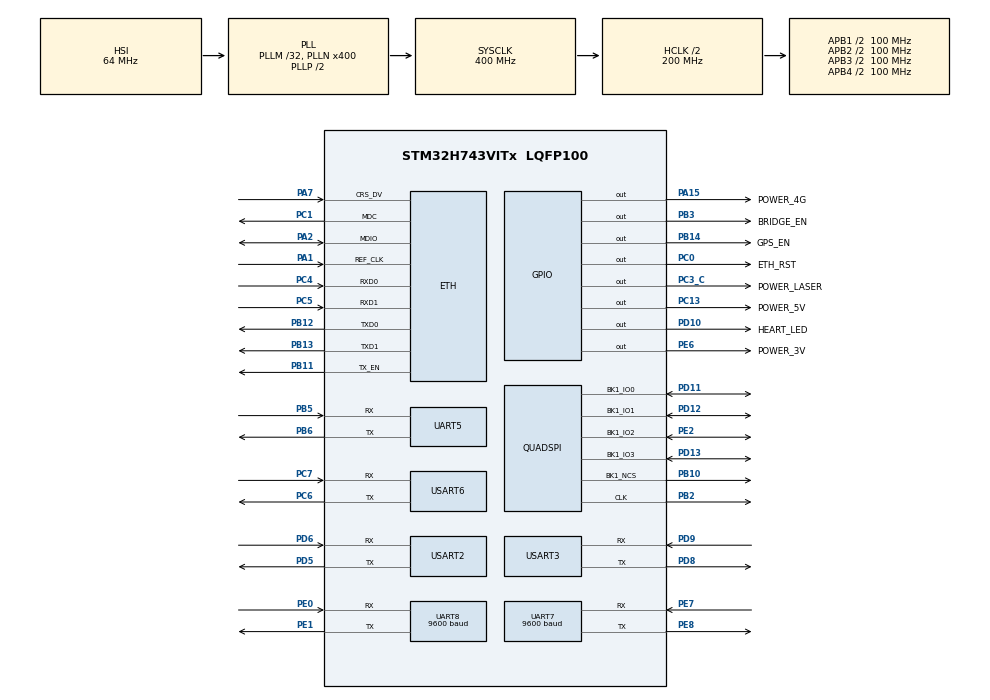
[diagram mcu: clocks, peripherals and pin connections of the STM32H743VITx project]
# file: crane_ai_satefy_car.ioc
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CORTEX_M7.AccessPermission_S-Cortex_Memory_Protection_Unit_Region1_Settings_S=MPU_REGION_FULL_ACCESS
CORTEX_M7.AccessPermission_S-Cortex_Memory_Protection_Unit_Region2_Settings_S=MPU_REGION_FULL_ACCESS
CORTEX_M7.AccessPermission_S-Cortex_Memory_Protection_Unit_Region3_Settings_S=MPU_REGION_FULL_ACCESS
CORTEX_M7.BaseAddress_S-Cortex_Memory_Protection_Unit_Region1_Settings_S=0x30020000
CORTEX_M7.BaseAddress_S-Cortex_Memory_Protection_Unit_Region2_Settings_S=0x30040000
CORTEX_M7.BaseAddress_S-Cortex_Memory_Protection_Unit_Region3_Settings_S=0x24000000
CORTEX_M7.CPU_DCache=Enabled
CORTEX_M7.CPU_ICache=Enabled
CORTEX_M7.DisableExec_S-Cortex_Memory_Protection_Unit_Region1_Settings_S=MPU_INSTRUCTION_ACCESS_DISABLE
CORTEX_M7.DisableExec_S-Cortex_Memory_Protection_Unit_Region2_Settings_S=MPU_INSTRUCTION_ACCESS_DISABLE
CORTEX_M7.DisableExec_S-Cortex_Memory_Protection_Unit_Region3_Settings_S=MPU_INSTRUCTION_ACCESS_ENABLE
CORTEX_M7.Enable_S-Cortex_Memory_Protection_Unit_Region1_Settings_S=MPU_REGION_ENABLE
CORTEX_M7.Enable_S-Cortex_Memory_Protection_Unit_Region2_Settings_S=MPU_REGION_ENABLE
CORTEX_M7.Enable_S-Cortex_Memory_Protection_Unit_Region3_Settings_S=MPU_REGION_ENABLE
CORTEX_M7.IsBufferable_S-Cortex_Memory_Protection_Unit_Region1_Settings_S=MPU_ACCESS_NOT_BUFFERABLE
CORTEX_M7.IsBufferable_S-Cortex_Memory_Protection_Unit_Region2_Settings_S=MPU_ACCESS_BUFFERABLE
CORTEX_M7.IsCacheable_S-Cortex_Memory_Protection_Unit_Region3_Settings_S=MPU_ACCESS_CACHEABLE
CORTEX_M7.IsShareable_S-Cortex_Memory_Protection_Unit_Region1_Settings_S=MPU_ACCESS_NOT_SHAREABLE
CORTEX_M7.IsShareable_S-Cortex_Memory_Protection_Unit_Region2_Settings_S=MPU_ACCESS_SHAREABLE
CORTEX_M7.IsShareable_S-Cortex_Memory_Protection_Unit_Region3_Settings_S=MPU_ACCESS_SHAREABLE
CORTEX_M7.Size_S-Cortex_Memory_Protection_Unit_Region1_Settings_S=MPU_REGION_SIZE_128KB
CORTEX_M7.Size_S-Cortex_Memory_Protection_Unit_Region2_Settings_S=MPU_REGION_SIZE_512B
CORTEX_M7.Size_S-Cortex_Memory_Protection_Unit_Region3_Settings_S=MPU_REGION_SIZE_512KB
CORTEX_M7.TypeExtField_S-Cortex_Memory_Protection_Unit_Region1_Settings_S=MPU_TEX_LEVEL1
CORTEX_M7.TypeExtField_S-Cortex_Memory_Protection_Unit_Region2_Settings_S=MPU_TEX_LEVEL0
CORTEX_M7.TypeExtField_S-Cortex_Memory_Protection_Unit_Region3_Settings_S=MPU_TEX_LEVEL0
CORTEX_M7.default_mode_Activation=1
Dma.Request0=UART5_RX
Dma.Request1=UART5_TX
Dma.Request2=USART3_RX
Dma.Request3=USART3_TX
Dma.Request4=USART2_RX
Dma.Request5=USART2_TX
Dma.Request6=USART6_RX
Dma.Request7=USART6_TX
Dma.UART5_RX.0.Direction=DMA_PERIPH_TO_MEMORY
Dma.UART5_RX.0.EventEnable=DISABLE
Dma.UART5_RX.0.FIFOMode=DMA_FIFOMODE_DISABLE
Dma.UART5_RX.0.Instance=DMA1_Stream0
Dma.UART5_RX.0.MemDataAlignment=DMA_MDATAALIGN_BYTE
Dma.UART5_RX.0.MemInc=DMA_MINC_ENABLE
Dma.UART5_RX.0.Mode=DMA_NORMAL
Dma.UART5_RX.0.PeriphDataAlignment=DMA_PDATAALIGN_BYTE
Dma.UART5_RX.0.PeriphInc=DMA_PINC_DISABLE
Dma.UART5_RX.0.Polarity=HAL_DMAMUX_REQ_GEN_RISING
Dma.UART5_RX.0.Priority=DMA_PRIORITY_LOW
Dma.UART5_RX.0.RequestNumber=1
Dma.UART5_RX.0.SignalID=NONE
Dma.UART5_RX.0.SyncEnable=DISABLE
Dma.UART5_RX.0.SyncPolarity=HAL_DMAMUX_SYNC_NO_EVENT
Dma.UART5_RX.0.SyncRequestNumber=1
Dma.UART5_RX.0.SyncSignalID=NONE
Dma.UART5_TX.1.Direction=DMA_MEMORY_TO_PERIPH
Dma.UART5_TX.1.EventEnable=DISABLE
Dma.UART5_TX.1.FIFOMode=DMA_FIFOMODE_DISABLE
Dma.UART5_TX.1.Instance=DMA1_Stream1
Dma.UART5_TX.1.MemDataAlignment=DMA_MDATAALIGN_BYTE
Dma.UART5_TX.1.MemInc=DMA_MINC_ENABLE
Dma.UART5_TX.1.Mode=DMA_NORMAL
Dma.UART5_TX.1.PeriphDataAlignment=DMA_PDATAALIGN_BYTE
Dma.UART5_TX.1.PeriphInc=DMA_PINC_DISABLE
Dma.UART5_TX.1.Polarity=HAL_DMAMUX_REQ_GEN_RISING
Dma.UART5_TX.1.Priority=DMA_PRIORITY_LOW
Dma.UART5_TX.1.RequestNumber=1
Dma.UART5_TX.1.SignalID=NONE
Dma.UART5_TX.1.SyncEnable=DISABLE
Dma.UART5_TX.1.SyncPolarity=HAL_DMAMUX_SYNC_NO_EVENT
Dma.UART5_TX.1.SyncRequestNumber=1
Dma.UART5_TX.1.SyncSignalID=NONE
Dma.USART2_RX.4.Direction=DMA_PERIPH_TO_MEMORY
Dma.USART2_RX.4.EventEnable=DISABLE
Dma.USART2_RX.4.FIFOMode=DMA_FIFOMODE_DISABLE
Dma.USART2_RX.4.Instance=DMA1_Stream4
Dma.USART2_RX.4.MemDataAlignment=DMA_MDATAALIGN_BYTE
Dma.USART2_RX.4.MemInc=DMA_MINC_ENABLE
Dma.USART2_RX.4.Mode=DMA_NORMAL
Dma.USART2_RX.4.PeriphDataAlignment=DMA_PDATAALIGN_BYTE
Dma.USART2_RX.4.PeriphInc=DMA_PINC_DISABLE
Dma.USART2_RX.4.Polarity=HAL_DMAMUX_REQ_GEN_RISING
Dma.USART2_RX.4.Priority=DMA_PRIORITY_LOW
Dma.USART2_RX.4.RequestNumber=1
Dma.USART2_RX.4.SignalID=NONE
Dma.USART2_RX.4.SyncEnable=DISABLE
Dma.USART2_RX.4.SyncPolarity=HAL_DMAMUX_SYNC_NO_EVENT
Dma.USART2_RX.4.SyncRequestNumber=1
Dma.USART2_RX.4.SyncSignalID=NONE
Dma.USART2_TX.5.Direction=DMA_MEMORY_TO_PERIPH
Dma.USART2_TX.5.EventEnable=DISABLE
Dma.USART2_TX.5.FIFOMode=DMA_FIFOMODE_DISABLE
Dma.USART2_TX.5.Instance=DMA1_Stream5
Dma.USART2_TX.5.MemDataAlignment=DMA_MDATAALIGN_BYTE
Dma.USART2_TX.5.MemInc=DMA_MINC_ENABLE
Dma.USART2_TX.5.Mode=DMA_NORMAL
Dma.USART2_TX.5.PeriphDataAlignment=DMA_PDATAALIGN_BYTE
Dma.USART2_TX.5.PeriphInc=DMA_PINC_DISABLE
Dma.USART2_TX.5.Polarity=HAL_DMAMUX_REQ_GEN_RISING
Dma.USART2_TX.5.Priority=DMA_PRIORITY_LOW
Dma.USART2_TX.5.RequestNumber=1
Dma.USART2_TX.5.SignalID=NONE
Dma.USART2_TX.5.SyncEnable=DISABLE
Dma.USART2_TX.5.SyncPolarity=HAL_DMAMUX_SYNC_NO_EVENT
Dma.USART2_TX.5.SyncRequestNumber=1
Dma.USART2_TX.5.SyncSignalID=NONE
Dma.USART3_RX.2.Direction=DMA_PERIPH_TO_MEMORY
Dma.USART3_RX.2.EventEnable=DISABLE
Dma.USART3_RX.2.FIFOMode=DMA_FIFOMODE_DISABLE
Dma.USART3_RX.2.Instance=DMA1_Stream2
Dma.USART3_RX.2.MemDataAlignment=DMA_MDATAALIGN_BYTE
Dma.USART3_RX.2.MemInc=DMA_MINC_ENABLE
Dma.USART3_RX.2.Mode=DMA_NORMAL
Dma.USART3_RX.2.PeriphDataAlignment=DMA_PDATAALIGN_BYTE
Dma.USART3_RX.2.PeriphInc=DMA_PINC_DISABLE
Dma.USART3_RX.2.Polarity=HAL_DMAMUX_REQ_GEN_RISING
Dma.USART3_RX.2.Priority=DMA_PRIORITY_LOW
Dma.USART3_RX.2.RequestNumber=1
Dma.USART3_RX.2.SignalID=NONE
Dma.USART3_RX.2.SyncEnable=DISABLE
Dma.USART3_RX.2.SyncPolarity=HAL_DMAMUX_SYNC_NO_EVENT
Dma.USART3_RX.2.SyncRequestNumber=1
Dma.USART3_RX.2.SyncSignalID=NONE
Dma.USART3_TX.3.Direction=DMA_MEMORY_TO_PERIPH
Dma.USART3_TX.3.EventEnable=DISABLE
Dma.USART3_TX.3.FIFOMode=DMA_FIFOMODE_DISABLE
Dma.USART3_TX.3.Instance=DMA1_Stream3
Dma.USART3_TX.3.MemDataAlignment=DMA_MDATAALIGN_BYTE
Dma.USART3_TX.3.MemInc=DMA_MINC_ENABLE
Dma.USART3_TX.3.Mode=DMA_NORMAL
Dma.USART3_TX.3.PeriphDataAlignment=DMA_PDATAALIGN_BYTE
Dma.USART3_TX.3.PeriphInc=DMA_PINC_DISABLE
Dma.USART3_TX.3.Polarity=HAL_DMAMUX_REQ_GEN_RISING
Dma.USART3_TX.3.Priority=DMA_PRIORITY_LOW
Dma.USART3_TX.3.RequestNumber=1
Dma.USART3_TX.3.SignalID=NONE
Dma.USART3_TX.3.SyncEnable=DISABLE
Dma.USART3_TX.3.SyncPolarity=HAL_DMAMUX_SYNC_NO_EVENT
Dma.USART3_TX.3.SyncRequestNumber=1
Dma.USART3_TX.3.SyncSignalID=NONE
Dma.USART6_RX.6.Direction=DMA_PERIPH_TO_MEMORY
Dma.USART6_RX.6.EventEnable=DISABLE
Dma.USART6_RX.6.FIFOMode=DMA_FIFOMODE_DISABLE
Dma.USART6_RX.6.Instance=DMA1_Stream6
Dma.USART6_RX.6.MemDataAlignment=DMA_MDATAALIGN_BYTE
Dma.USART6_RX.6.MemInc=DMA_MINC_ENABLE
Dma.USART6_RX.6.Mode=DMA_NORMAL
Dma.USART6_RX.6.PeriphDataAlignment=DMA_PDATAALIGN_BYTE
Dma.USART6_RX.6.PeriphInc=DMA_PINC_DISABLE
Dma.USART6_RX.6.Polarity=HAL_DMAMUX_REQ_GEN_RISING
Dma.USART6_RX.6.Priority=DMA_PRIORITY_LOW
Dma.USART6_RX.6.RequestNumber=1
Dma.USART6_RX.6.SignalID=NONE
Dma.USART6_RX.6.SyncEnable=DISABLE
Dma.USART6_RX.6.SyncPolarity=HAL_DMAMUX_SYNC_NO_EVENT
Dma.USART6_RX.6.SyncRequestNumber=1
Dma.USART6_RX.6.SyncSignalID=NONE
Dma.USART6_TX.7.Direction=DMA_MEMORY_TO_PERIPH
Dma.USART6_TX.7.EventEnable=DISABLE
Dma.USART6_TX.7.FIFOMode=DMA_FIFOMODE_DISABLE
Dma.USART6_TX.7.Instance=DMA1_Stream7
Dma.USART6_TX.7.MemDataAlignment=DMA_MDATAALIGN_BYTE
Dma.USART6_TX.7.MemInc=DMA_MINC_ENABLE
Dma.USART6_TX.7.Mode=DMA_NORMAL
Dma.USART6_TX.7.PeriphDataAlignment=DMA_PDATAALIGN_BYTE
Dma.USART6_TX.7.PeriphInc=DMA_PINC_DISABLE
Dma.USART6_TX.7.Polarity=HAL_DMAMUX_REQ_GEN_RISING
Dma.USART6_TX.7.Priority=DMA_PRIORITY_LOW
Dma.USART6_TX.7.RequestNumber=1
Dma.USART6_TX.7.SignalID=NONE
Dma.USART6_TX.7.SyncEnable=DISABLE
Dma.USART6_TX.7.SyncPolarity=HAL_DMAMUX_SYNC_NO_EVENT
Dma.USART6_TX.7.SyncRequestNumber=1
Dma.USART6_TX.7.SyncSignalID=NONE
ETH.MediaInterface=HAL_ETH_RMII_MODE
FREERTOS.Tasks01=defaultTask,24,1024,StartDefaultTask,Default,NULL,Dynamic,NULL,NULL
FREERTOS.configCHECK_FOR_STACK_OVERFLOW=1
FREERTOS.configTOTAL_HEAP_SIZE=65536
IWDG1.Prescaler=IWDG_PRESCALER_256
LWIP.BSP.number=1
LWIP.DEFAULT_ACCEPTMBOX_SIZE=12
LWIP.DEFAULT_RAW_RECVMBOX_SIZE=6
LWIP.GATEWAY_ADDRESS=192.168.061.001
LWIP.IP_ADDRESS=192.168.061.036
LWIP.LWIP_DHCP=0
LWIP.LWIP_RAM_HEAP_POINTER=0x30020000
LWIP.LWIP_RAW=1
LWIP.LWIP_SO_RCVTIMEO=1
LWIP.LWIP_SO_SNDTIMEO=1
LWIP.LWIP_TCP_KEEPALIVE=1
LWIP.MEMP_NUM_NETCONN=15
LWIP.MEMP_NUM_SOCKET_SETGETSOCKOPT_DATA=10
LWIP.MEMP_NUM_SYS_TIMEOUT=20
LWIP.MEMP_NUM_TCP_PCB=20
LWIP.MEMP_NUM_TCP_PCB_LISTEN=20
LWIP.MEMP_NUM_UDP_PCB=20
LWIP.MEM_SIZE=131048
LWIP.NETMASK_ADDRESS=255.255.255.000
LWIP.SO_REUSE=1
LWIP.Version=v2.1.2_Cube
LWIP0.BSP.STBoard=false
LWIP0.BSP.api=BSP_COMPONENT_DRIVER
LWIP0.BSP.component=LAN8742
LWIP0.BSP.instance=LAN8742
LWIP0.BSP.name=Driver_PHY
LWIP0.BSP.semaphore=S_LAN8742
LWIP0.BSP.solution=LAN8742
Mcu.Family=STM32H7
Mcu.Name=STM32H743VITx
Mcu.Package=LQFP100
NVIC.DMA1_Stream0_IRQn=true\:5\:0\:false\:false\:true\:true\:false\:true\:true
NVIC.DMA1_Stream1_IRQn=true\:5\:0\:false\:false\:true\:true\:false\:true\:true
NVIC.DMA1_Stream2_IRQn=true\:5\:0\:false\:false\:true\:true\:false\:true\:true
NVIC.DMA1_Stream3_IRQn=true\:5\:0\:false\:false\:true\:true\:false\:true\:true
NVIC.DMA1_Stream4_IRQn=true\:5\:0\:false\:false\:true\:true\:false\:true\:true
NVIC.DMA1_Stream5_IRQn=true\:5\:0\:false\:false\:true\:true\:false\:true\:true
NVIC.DMA1_Stream6_IRQn=true\:5\:0\:false\:false\:true\:true\:false\:true\:true
NVIC.DMA1_Stream7_IRQn=true\:5\:0\:false\:false\:true\:true\:false\:true\:true
NVIC.ETH_IRQn=true\:5\:0\:false\:false\:true\:true\:true\:true\:true
NVIC.PriorityGroup=NVIC_PRIORITYGROUP_4
NVIC.RTC_Alarm_IRQn=true\:5\:0\:false\:false\:true\:true\:true\:true\:true
NVIC.TIM6_DAC_IRQn=true\:15\:0\:false\:false\:true\:false\:false\:true\:true
NVIC.TimeBase=TIM6_DAC_IRQn
NVIC.TimeBaseIP=TIM6
NVIC.UART5_IRQn=true\:5\:0\:false\:false\:true\:true\:true\:true\:true
NVIC.UART7_IRQn=true\:5\:0\:false\:false\:true\:true\:true\:true\:true
NVIC.UART8_IRQn=true\:5\:0\:false\:false\:true\:true\:true\:true\:true
NVIC.USART2_IRQn=true\:5\:0\:false\:false\:true\:true\:true\:true\:true
NVIC.USART3_IRQn=true\:5\:0\:false\:false\:true\:true\:true\:true\:true
NVIC.USART6_IRQn=true\:5\:0\:false\:false\:true\:true\:true\:true\:true
PA1.GPIO_Speed_Default_HIGH=GPIO_SPEED_FREQ_VERY_HIGH
PA1.Mode=RMII
PA1.Signal=ETH_REF_CLK
PA15\ (JTDI).GPIO_Label=POWER_4G
PA15\ (JTDI).PinState=GPIO_PIN_SET
PA15\ (JTDI).Signal=GPIO_Output
PA2.GPIO_Speed_Default_HIGH=GPIO_SPEED_FREQ_VERY_HIGH
PA2.Mode=RMII
PA2.Signal=ETH_MDIO
PA7.GPIO_Speed_Default_HIGH=GPIO_SPEED_FREQ_VERY_HIGH
PA7.Mode=RMII
PA7.Signal=ETH_CRS_DV
PB10.GPIO_Speed=GPIO_SPEED_FREQ_VERY_HIGH
PB10.Mode=Single Bank 1
PB10.Signal=QUADSPI_BK1_NCS
PB11.GPIO_Speed_Default_HIGH=GPIO_SPEED_FREQ_VERY_HIGH
PB11.Mode=RMII
PB11.Signal=ETH_TX_EN
PB12.GPIO_Speed_Default_HIGH=GPIO_SPEED_FREQ_VERY_HIGH
PB12.Mode=RMII
PB12.Signal=ETH_TXD0
PB13.GPIO_Speed_Default_HIGH=GPIO_SPEED_FREQ_VERY_HIGH
PB13.Mode=RMII
PB13.Signal=ETH_TXD1
PB14.GPIO_Label=GPS_EN
PB14.PinState=GPIO_PIN_SET
PB14.Signal=GPIO_Output
PB2.GPIO_Speed=GPIO_SPEED_FREQ_VERY_HIGH
PB2.Mode=Single Bank 1
PB2.Signal=QUADSPI_CLK
PB3\ (JTDO/TRACESWO).GPIO_Label=BRIDGE_EN
PB3\ (JTDO/TRACESWO).PinState=GPIO_PIN_SET
PB3\ (JTDO/TRACESWO).Signal=GPIO_Output
PB5.Mode=Asynchronous
PB5.Signal=UART5_RX
PB6.Mode=Asynchronous
PB6.Signal=UART5_TX
PC0.GPIO_Label=ETH_RST
PC0.Signal=GPIO_Output
PC1.GPIO_Speed_Default_HIGH=GPIO_SPEED_FREQ_VERY_HIGH
PC1.Mode=RMII
PC1.Signal=ETH_MDC
PC13.GPIO_Label=POWER_5V
PC13.PinState=GPIO_PIN_SET
PC13.Signal=GPIO_Output
PC14-OSC32_IN\ (OSC32_IN).Mode=LSE-External-Oscillator
PC14-OSC32_IN\ (OSC32_IN).Signal=RCC_OSC32_IN
PC15-OSC32_OUT\ (OSC32_OUT).Mode=LSE-External-Oscillator
PC15-OSC32_OUT\ (OSC32_OUT).Signal=RCC_OSC32_OUT
PC3_C.GPIO_Label=POWER_LASER
PC3_C.PinState=GPIO_PIN_RESET
PC3_C.Signal=GPIO_Output
PC4.GPIO_Speed_Default_HIGH=GPIO_SPEED_FREQ_VERY_HIGH
PC4.Mode=RMII
PC4.Signal=ETH_RXD0
PC5.GPIO_Speed_Default_HIGH=GPIO_SPEED_FREQ_VERY_HIGH
PC5.Mode=RMII
PC5.Signal=ETH_RXD1
PC6.Mode=Asynchronous
PC6.Signal=USART6_TX
PC7.Mode=Asynchronous
PC7.Signal=USART6_RX
PD10.GPIO_Label=HEART_LED
PD10.PinState=GPIO_PIN_SET
PD10.Signal=GPIO_Output
PD11.GPIO_Speed=GPIO_SPEED_FREQ_VERY_HIGH
PD11.Mode=Single Bank 1
PD11.Signal=QUADSPI_BK1_IO0
PD12.GPIO_Speed=GPIO_SPEED_FREQ_VERY_HIGH
PD12.Mode=Single Bank 1
PD12.Signal=QUADSPI_BK1_IO1
PD13.GPIO_Speed=GPIO_SPEED_FREQ_VERY_HIGH
PD13.Mode=Single Bank 1
PD13.Signal=QUADSPI_BK1_IO3
PD5.Mode=Asynchronous
PD5.Signal=USART2_TX
PD6.Mode=Asynchronous
PD6.Signal=USART2_RX
PD8.Mode=Asynchronous
PD8.Signal=USART3_TX
PD9.Mode=Asynchronous
PD9.Signal=USART3_RX
PE0.Mode=Asynchronous
PE0.Signal=UART8_RX
PE1.Mode=Asynchronous
PE1.Signal=UART8_TX
PE2.GPIO_Speed=GPIO_SPEED_FREQ_VERY_HIGH
PE2.Mode=Single Bank 1
PE2.Signal=QUADSPI_BK1_IO2
PE6.GPIO_Label=POWER_3V
PE6.PinState=GPIO_PIN_SET
PE6.Signal=GPIO_Output
PE7.Mode=Asynchronous
PE7.Signal=UART7_RX
PE8.Mode=Asynchronous
PE8.Signal=UART7_TX
PH0-OSC_IN\ (PH0).Mode=HSE-External-Oscillator
PH0-OSC_IN\ (PH0).Signal=RCC_OSC_IN
PH1-OSC_OUT\ (PH1).Mode=HSE-External-Oscillator
PH1-OSC_OUT\ (PH1).Signal=RCC_OSC_OUT
ProjectManager.HeapSize=0x200
ProjectManager.StackSize=0x400
ProjectManager.TargetToolchain=STM32CubeIDE
QUADSPI.ChipSelectHighTime=QSPI_CS_HIGH_TIME_2_CYCLE
QUADSPI.ClockPrescaler=2
QUADSPI.FlashSize=24
QUADSPI.SampleShifting=QSPI_SAMPLE_SHIFTING_HALFCYCLE
RCC.ADCFreq_Value=129000000
RCC.APB1Freq_Value=100000000
RCC.APB2Freq_Value=100000000
RCC.APB3Freq_Value=100000000
RCC.APB4Freq_Value=100000000
RCC.CortexFreq_Value=400000000
RCC.D1PPRE=RCC_APB3_DIV2
RCC.D2PPRE1=RCC_APB1_DIV2
RCC.D2PPRE2=RCC_APB2_DIV2
RCC.D3PPRE=RCC_APB4_DIV2
RCC.DIVN1=400
RCC.HCLKFreq_Value=200000000
RCC.HPRE=RCC_HCLK_DIV2
RCC.SYSCLKFreq_VALUE=400000000
RCC.SYSCLKSource=RCC_SYSCLKSOURCE_PLLCLK
RCC.USBFreq_Value=400000000
RTC.AlarmMaskDateWeekDay_B-Alarm\ B=RTC_ALARMMASK_DATEWEEKDAY
RTC.Alarm_B-Alarm\ B=RTC_ALARM_B
UART7.BaudRate=9600
UART8.BaudRate=9600
UART8.RxPinLevelInvertParam=UART_ADVFEATURE_RXINV_DISABLE
UART8.TxPinLevelInvertParam=UART_ADVFEATURE_TXINV_DISABLE
USART2.VirtualMode-Asynchronous=VM_ASYNC
USART3.VirtualMode-Asynchronous=VM_ASYNC
USART6.VirtualMode=VM_ASYNC
VP_FREERTOS_VS_CMSIS_V2.Mode=CMSIS_V2
VP_IWDG1_VS_IWDG.Mode=IWDG_Activate
VP_LWIP_VS_Enabled.Mode=Enabled
VP_MEMORYMAP_VS_MEMORYMAP.Mode=CurAppReg
VP_RTC_VS_RTC_Activate.Mode=RTC_Enabled
VP_RTC_VS_RTC_Alarm_B_Intern.Mode=Alarm B
VP_RTC_VS_RTC_Calendar.Mode=RTC_Calendar
VP_SYS_VS_tim6.Mode=TIM6
board=custom

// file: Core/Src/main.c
/* USER CODE BEGIN Header */
/**
  ******************************************************************************
  * @file           : main.c
  * @brief          : Main program body
  ******************************************************************************
  * @attention
  *
  * Copyright (c) 2026 STMicroelectronics.
  * All rights reserved.
  *
  * This software is licensed under terms that can be found in the LICENSE file
  * in the root directory of this software component.
  * If no LICENSE file comes with this software, it is provided AS-IS.
  *
  ******************************************************************************
  */
/* USER CODE END Header */
#include "main.h"
#include "cmsis_os.h"
#include "dma.h"
#include "iwdg.h"
#include "lwip.h"
#include "quadspi.h"
#include "rtc.h"
#include "usart.h"
#include "gpio.h"

/* USER CODE BEGIN Includes */
/* ETH_CODE: add lwiperf, see comment in StartDefaultTask function */
#include "lwip/apps/lwiperf.h"
#include "modbus_tcp_server_task.h"
#include "modbus_tcp_server_database.h"
#include "app_car_task.h"

/* USER CODE END Includes */

void SystemClock_Config(void);
static void MPU_Config(void);
void MX_FREERTOS_Init(void);

int main(void)
{

  /* MPU Configuration--------------------------------------------------------*/
  MPU_Config();

  /* Enable the CPU Cache */

  /* Enable I-Cache---------------------------------------------------------*/
  SCB_EnableICache();

  /* Enable D-Cache---------------------------------------------------------*/
  SCB_EnableDCache();

  /* MCU Configuration--------------------------------------------------------*/

  /* Reset of all peripherals, Initializes the Flash interface and the Systick. */
  HAL_Init();

  /* Configure the system clock */
  SystemClock_Config();

  /* Initialize all configured peripherals */
  MX_GPIO_Init();
  MX_DMA_Init();
  MX_QUADSPI_Init();
  MX_RTC_Init();
  MX_UART5_Init();
  MX_UART7_Init();
  MX_UART8_Init();
  MX_USART3_UART_Init();
  MX_USART2_UART_Init();
  MX_USART6_UART_Init();
  MX_IWDG1_Init();
  /* USER CODE BEGIN 2 */
  init_app_car_task(); // 初始化应用层任务模块

  /* USER CODE END 2 */

  /* Init scheduler */
  osKernelInitialize();  /* Call init function for freertos objects (in cmsis_os2.c) */
  MX_FREERTOS_Init();

  /* Start scheduler */
  osKernelStart();

  /* We should never get here as control is now taken by the scheduler */

  /* Infinite loop */
  while (1)
  {

  }
}

void SystemClock_Config(void)
{
  RCC_OscInitTypeDef RCC_OscInitStruct = {0};
  RCC_ClkInitTypeDef RCC_ClkInitStruct = {0};

  /** Supply configuration update enable
  */
  HAL_PWREx_ConfigSupply(PWR_LDO_SUPPLY);

  /** Configure the main internal regulator output voltage
  */
  __HAL_PWR_VOLTAGESCALING_CONFIG(PWR_REGULATOR_VOLTAGE_SCALE1);

  while(!__HAL_PWR_GET_FLAG(PWR_FLAG_VOSRDY)) {}

  /** Initializes the RCC Oscillators according to the specified parameters
  * in the RCC_OscInitTypeDef structure.
  */
  RCC_OscInitStruct.OscillatorType = RCC_OSCILLATORTYPE_HSI|RCC_OSCILLATORTYPE_LSI;
  RCC_OscInitStruct.HSIState = RCC_HSI_DIV1;
  RCC_OscInitStruct.HSICalibrationValue = RCC_HSICALIBRATION_DEFAULT;
  RCC_OscInitStruct.LSIState = RCC_LSI_ON;
  RCC_OscInitStruct.PLL.PLLState = RCC_PLL_ON;
  RCC_OscInitStruct.PLL.PLLSource = RCC_PLLSOURCE_HSI;
  RCC_OscInitStruct.PLL.PLLM = 32;
  RCC_OscInitStruct.PLL.PLLN = 400;
  RCC_OscInitStruct.PLL.PLLP = 2;
  RCC_OscInitStruct.PLL.PLLQ = 2;
  RCC_OscInitStruct.PLL.PLLR = 2;
  RCC_OscInitStruct.PLL.PLLRGE = RCC_PLL1VCIRANGE_1;
  RCC_OscInitStruct.PLL.PLLVCOSEL = RCC_PLL1VCOWIDE;
  RCC_OscInitStruct.PLL.PLLFRACN = 0;
  if (HAL_RCC_OscConfig(&RCC_OscInitStruct) != HAL_OK)
  {
    Error_Handler();
  }

  /** Initializes the CPU, AHB and APB buses clocks
  */
  RCC_ClkInitStruct.ClockType = RCC_CLOCKTYPE_HCLK|RCC_CLOCKTYPE_SYSCLK
                              |RCC_CLOCKTYPE_PCLK1|RCC_CLOCKTYPE_PCLK2
                              |RCC_CLOCKTYPE_D3PCLK1|RCC_CLOCKTYPE_D1PCLK1;
  RCC_ClkInitStruct.SYSCLKSource = RCC_SYSCLKSOURCE_PLLCLK;
  RCC_ClkInitStruct.SYSCLKDivider = RCC_SYSCLK_DIV1;
  RCC_ClkInitStruct.AHBCLKDivider = RCC_HCLK_DIV2;
  RCC_ClkInitStruct.APB3CLKDivider = RCC_APB3_DIV2;
  RCC_ClkInitStruct.APB1CLKDivider = RCC_APB1_DIV2;
  RCC_ClkInitStruct.APB2CLKDivider = RCC_APB2_DIV2;
  RCC_ClkInitStruct.APB4CLKDivider = RCC_APB4_DIV2;

  if (HAL_RCC_ClockConfig(&RCC_ClkInitStruct, FLASH_LATENCY_2) != HAL_OK)
  {
    Error_Handler();
  }
}

 /* MPU Configuration */

void MPU_Config(void)
{
  MPU_Region_InitTypeDef MPU_InitStruct = {0};

  /* Disables the MPU */
  HAL_MPU_Disable();

  /** Initializes and configures the Region and the memory to be protected
  */
  MPU_InitStruct.Enable = MPU_REGION_ENABLE;
  MPU_InitStruct.Number = MPU_REGION_NUMBER0;
  MPU_InitStruct.BaseAddress = 0x0;
  MPU_InitStruct.Size = MPU_REGION_SIZE_4GB;
  MPU_InitStruct.SubRegionDisable = 0x87;
  MPU_InitStruct.TypeExtField = MPU_TEX_LEVEL0;
  MPU_InitStruct.AccessPermission = MPU_REGION_NO_ACCESS;
  MPU_InitStruct.DisableExec = MPU_INSTRUCTION_ACCESS_DISABLE;
  MPU_InitStruct.IsShareable = MPU_ACCESS_SHAREABLE;
  MPU_InitStruct.IsCacheable = MPU_ACCESS_NOT_CACHEABLE;
  MPU_InitStruct.IsBufferable = MPU_ACCESS_NOT_BUFFERABLE;

  HAL_MPU_ConfigRegion(&MPU_InitStruct);

  /** Initializes and configures the Region and the memory to be protected
  */
  MPU_InitStruct.Number = MPU_REGION_NUMBER1;
  MPU_InitStruct.BaseAddress = 0x30020000;
  MPU_InitStruct.Size = MPU_REGION_SIZE_128KB;
  MPU_InitStruct.SubRegionDisable = 0x0;
  MPU_InitStruct.TypeExtField = MPU_TEX_LEVEL1;
  MPU_InitStruct.AccessPermission = MPU_REGION_FULL_ACCESS;
  MPU_InitStruct.IsShareable = MPU_ACCESS_NOT_SHAREABLE;

  HAL_MPU_ConfigRegion(&MPU_InitStruct);

  /** Initializes and configures the Region and the memory to be protected
  */
  MPU_InitStruct.Number = MPU_REGION_NUMBER2;
  MPU_InitStruct.BaseAddress = 0x30040000;
  MPU_InitStruct.Size = MPU_REGION_SIZE_512B;
  MPU_InitStruct.TypeExtField = MPU_TEX_LEVEL0;
  MPU_InitStruct.IsShareable = MPU_ACCESS_SHAREABLE;
  MPU_InitStruct.IsBufferable = MPU_ACCESS_BUFFERABLE;

  HAL_MPU_ConfigRegion(&MPU_InitStruct);

  /** Initializes and configures the Region and the memory to be protected
  */
  MPU_InitStruct.Number = MPU_REGION_NUMBER3;
  MPU_InitStruct.BaseAddress = 0x24000000;
  MPU_InitStruct.Size = MPU_REGION_SIZE_512KB;
  MPU_InitStruct.DisableExec = MPU_INSTRUCTION_ACCESS_ENABLE;
  MPU_InitStruct.IsCacheable = MPU_ACCESS_CACHEABLE;
  MPU_InitStruct.IsBufferable = MPU_ACCESS_NOT_BUFFERABLE;

  HAL_MPU_ConfigRegion(&MPU_InitStruct);
  /* Enables the MPU */
  HAL_MPU_Enable(MPU_PRIVILEGED_DEFAULT);

}

void HAL_TIM_PeriodElapsedCallback(TIM_HandleTypeDef *htim)
{
  if (htim->Instance == TIM6)
  {
    HAL_IncTick();
  }
}

void Error_Handler(void)
{
  __disable_irq();
  while (1)
  {
  }
}

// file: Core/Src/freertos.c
/* USER CODE BEGIN Header */
/**
  ******************************************************************************
  * File Name          : freertos.c
  * Description        : Code for freertos applications
  ******************************************************************************
  * @attention
  *
  * Copyright (c) 2026 STMicroelectronics.
  * All rights reserved.
  *
  * This software is licensed under terms that can be found in the LICENSE file
  * in the root directory of this software component.
  * If no LICENSE file comes with this software, it is provided AS-IS.
  *
  ******************************************************************************
  */
/* USER CODE END Header */

#include "FreeRTOS.h"
#include "task.h"
#include "main.h"
#include "cmsis_os.h"

/* USER CODE BEGIN Includes */
#include "lwip/apps/lwiperf.h"
#include "lwip/netif.h"
#include "modbus_tcp_server_task.h"
#include "modbus_tcp_server_database.h"

#include "usart.h"
#include "printf_redirect.h"
/* USER CODE END Includes */

/* Definitions for defaultTask */
osThreadId_t defaultTaskHandle;
const osThreadAttr_t defaultTask_attributes = {
  .name = "defaultTask",
  .stack_size = 1024 * 4,
  .priority = (osPriority_t) osPriorityNormal,
};

void StartDefaultTask(void *argument);

extern void MX_LWIP_Init(void);
void MX_FREERTOS_Init(void); /* (MISRA C 2004 rule 8.1) */

/* Hook prototypes */
void vApplicationStackOverflowHook(xTaskHandle xTask, signed char *pcTaskName);

/* USER CODE BEGIN 4 */
// void vApplicationStackOverflowHook(xTaskHandle xTask, signed char *pcTaskName)
// {
//    /* Run time stack overflow checking is performed if

//    configCHECK_FOR_STACK_OVERFLOW is defined to 1 or 2. This hook function is
//    called if a stack overflow is detected. */

// }
/* USER CODE END 4 */

void MX_FREERTOS_Init(void) {

  /* Create the thread(s) */
  /* creation of defaultTask */
  defaultTaskHandle = osThreadNew(StartDefaultTask, NULL, &defaultTask_attributes);

}

void StartDefaultTask(void *argument)
{
  /* init code for LWIP */
  MX_LWIP_Init();
  /* USER CODE BEGIN StartDefaultTask */

  extern struct netif gnetif;
    while (!netif_is_link_up(&gnetif) || !netif_is_up(&gnetif))
    {
        osDelay(100);
    }
    // 初始化modbus tcp server模块
    modbus_tcp_init_server();
  /* Infinite loop */
  for(;;)
  {
    osDelay(10);
  }
  /* USER CODE END StartDefaultTask */
}

/* USER CODE BEGIN Application */
void vApplicationStackOverflowHook(xTaskHandle xTask, signed char *pcTaskName)
{
   /* ETH_CODE: add breakpoint when stack oveflow is detected by FreeRTOS.
    * Useful for debugging issues.
    */
   printf ("1111111111Stack Overflow in task %s\n", pcTaskName);
   NVIC_SystemReset();
   __BKPT(0);
}
/* USER CODE END Application */
